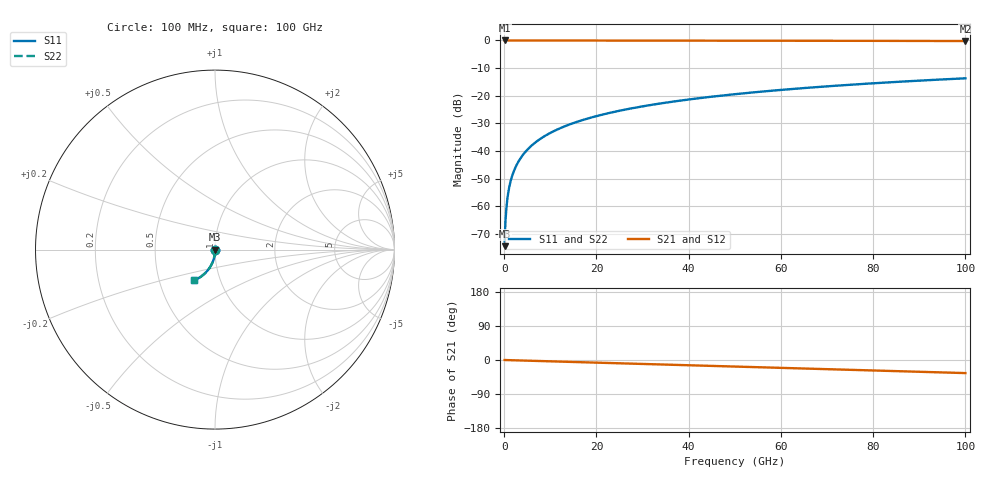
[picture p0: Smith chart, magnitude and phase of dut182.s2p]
! Touchstone file exported from HFSS 2026.1.0
!  File:  C:/ffzhzh/LocalFiles/Ansys_Project_Files/temp_train_TSV_182_1783507134_41296.aedt
!  Generated:  06:40:03 PM Jul  8, 2026
!  Design:  TSV
!  Project:  temp_train_TSV_182_1783507134_41296
! Variables:
!  h_bsmrdl = 2um
!  h_ox = 20um
!  h_rdl = 5um
!  h_sub = 65.83um
!  h_tmrdl = 5um
!  h_tsv = 65.83um
!  h_via = 3um
!  l_bsmrdl = 300um
!  l_sub = 429.2um
!  l_tmrdl = 200um
!  m_sub = 200um
!  pitch = 42.77um
!  r_tsv = 14.6um
!  s_tmrdl = 10um
!  w_bsmrdl = 18um
!  w_sub = 500um
!  w_tmrdl = 12um
!  x_tsv_center1 = 206um
!  x_tsv_center2 = 524um
!  x_tsv_center3 = 736um
!  x_tsv_center4 = 1054um
!  x_tsv_center5 = 1266um
!  x_tsv_center6 = 1584um
# GHz S MA R 50.000000
! Terminal data exported
! Port[1] = TSV1_1_T1
! Port[2] = TSV1_1_T2
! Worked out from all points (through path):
!   1000 points, 100 MHz to 100 GHz, reference 50 ohm
!   highest |S21| = 0.00 dB at 100 MHz (marker M1); lowest = -0.2 dB at 100 GHz (marker M2)
!   group delay of S21, straight-line fit = 959 fs
!   lowest |S11| = -74.5 dB at 100 MHz (marker M3), VSWR 1.00, Z = 50 - j0.0176 ohm
!   |S11| at or under -10 dB: start of sweep to end of sweep
!   |S22| runs from -74.5 to -13.7 dB; largest |S21 - S12| = 1.9e-15
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0.1  0.0001885 -68.6  0.9999 -0.0  0.9999 -0.0  0.0001885 -68.6
! Gamma 0 0 0 0
! Port Impedance 50 0 50 0
0.3  0.0005542 -79.4  0.9999 -0.1  0.9999 -0.1  0.0005542 -79.4
0.7  0.001363 -82.9  0.9998 -0.3  0.9998 -0.3  0.001363 -82.9
0.8  0.001571 -83.5  0.9998 -0.3  0.9998 -0.3  0.001571 -83.5
1  0.001988 -84.4  0.9998 -0.4  0.9998 -0.4  0.001988 -84.4
1.3  0.002615 -85.3  0.9998 -0.5  0.9998 -0.5  0.002615 -85.3
1.7  0.003453 -86.2  0.9997 -0.6  0.9997 -0.6  0.003453 -86.2
2.3  0.004714 -87.1  0.9997 -0.8  0.9997 -0.8  0.004714 -87.1
2.9  0.005983 -87.7  0.9996 -1.0  0.9996 -1.0  0.005983 -87.7
3.7  0.007682 -88.4  0.9996 -1.3  0.9996 -1.3  0.007682 -88.4
4.7  0.009815 -89.0  0.9995 -1.7  0.9995 -1.7  0.009815 -89.0
5.8  0.01217 -89.7  0.9994 -2.0  0.9994 -2.0  0.01217 -89.7
8.6  0.01816 -91.1  0.9992 -3.0  0.9992 -3.0  0.01816 -91.1
12.2  0.02589 -92.6  0.9989 -4.3  0.9989 -4.3  0.02589 -92.6
16.8  0.03577 -94.5  0.9985 -5.9  0.9985 -5.9  0.03577 -94.5
24.2  0.05166 -97.3  0.9976 -8.4  0.9976 -8.4  0.05166 -97.3
33.4  0.0713 -100.7  0.9962 -11.6  0.9962 -11.6  0.0713 -100.7
41.2  0.08785 -103.5  0.9947 -14.3  0.9947 -14.3  0.08785 -103.5
50.1  0.1066 -106.6  0.9928 -17.4  0.9928 -17.4  0.1066 -106.6
66.7  0.1409 -112.4  0.9882 -23.1  0.9882 -23.1  0.1409 -112.4
83.4  0.1744 -118.3  0.9826 -28.9  0.9826 -28.9  0.1744 -118.3
100  0.2064 -124.0  0.9759 -34.5  0.9759 -34.5  0.2064 -124.0
